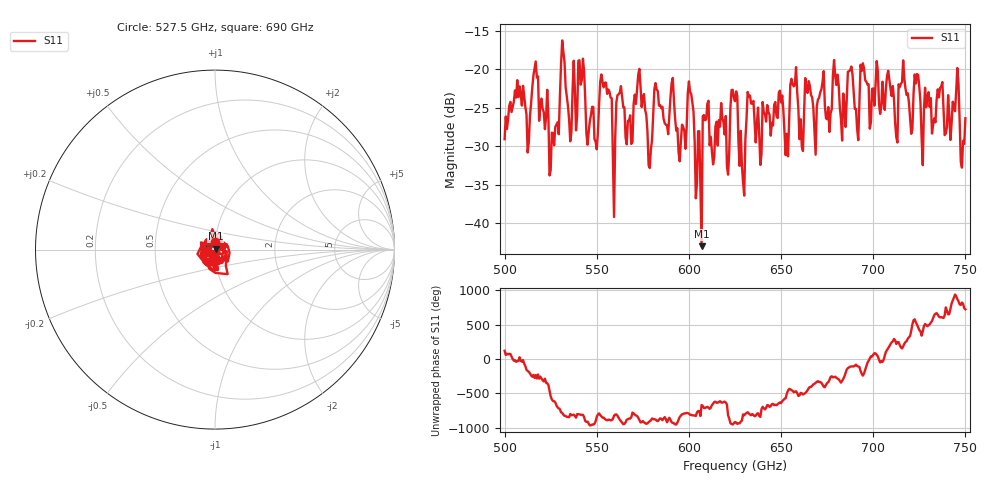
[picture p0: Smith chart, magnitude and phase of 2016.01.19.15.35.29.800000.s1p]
!Created with skrf (http://scikit-rf.org).
# GHz S RI R 50.0
!freq ReS11 ImS11
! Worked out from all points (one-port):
!   401 points, 500 GHz to 750 GHz, reference 50 ohm
!   lowest |S11| = -43.0 dB at 606.9 GHz (marker M1), VSWR 1.01, Z = 50.4 + j0.555 ohm
!   |S11| at or under -10 dB: start of sweep to end of sweep
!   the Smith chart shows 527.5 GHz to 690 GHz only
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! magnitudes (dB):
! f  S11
! 500 GHz  -29.1
! 513.1 GHz  -29.5
! 516.9 GHz  -19.0
! 525.6 GHz  -28.2
! 531.2 GHz  -16.3
! 535 GHz  -26.6
! 541.2 GHz  -22.0
! 549.4 GHz  -29.4
! 553.8 GHz  -22.3
! 560 GHz  -29.0
! 562.5 GHz  -23.0
! 591.2 GHz  -21.1
! 593.8 GHz  -27.7
! 600.6 GHz  -22.9
! 606.9 GHz  -43.0
! 625 GHz  -24.2
! 628.8 GHz  -32.5
! 633.1 GHz  -23.4
! 653.1 GHz  -28.4
! 656.2 GHz  -21.9
! 661.2 GHz  -30.1
! 664.4 GHz  -23.1
! 683.8 GHz  -23.2
! 687.5 GHz  -20.1
! 691.2 GHz  -27.7
! 694.4 GHz  -19.2
! 718.8 GHz  -23.1
! 750 GHz  -26.4
